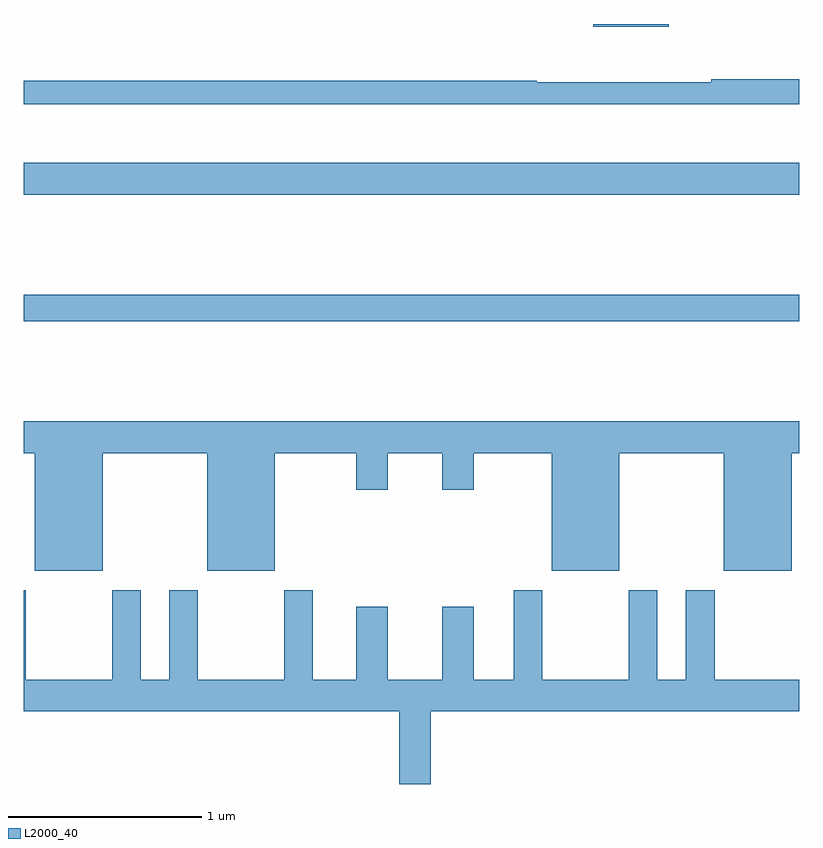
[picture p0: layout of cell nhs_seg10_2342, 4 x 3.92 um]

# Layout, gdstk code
import gdstk
lib = gdstk.Library(unit=1e-6, precision=1e-09)
def R(c, l, rs):  # rectangles x0, y0, x1, y1
    for r in rs: c.add(gdstk.rectangle(r[:2], r[2:], *l))
def P(c, l, *ps):  # polygons
    for p in ps: c.add(gdstk.Polygon(p, *l))
L2000_40 = (2000, 40)

nhs_seg10_2342 = lib.new_cell('nhs_seg10_2342')
R(nhs_seg10_2342, L2000_40, [(235,1328.968,239,1329.104), (235,1329.62,239,1329.784), (237.938,1330.487,238.327,1330.5)])
P(nhs_seg10_2342, L2000_40, [(239,1330.214),(238.545,1330.214),(238.545,1330.199),(237.645,1330.199),(237.645,1330.207),(235,1330.207),(235,1330.086),(239,1330.086)],
  [(235.408,1328.288),(235.946,1328.288),(235.946,1327.682),(236.296,1327.682),(236.296,1328.288),(236.714,1328.288),(236.714,1328.1),(236.878,1328.1),(236.878,1328.288),(237.158,1328.288),(237.158,1328.1),(237.322,1328.1),(237.322,1328.288),(237.722,1328.288),(237.722,1327.682),(238.072,1327.682),(238.072,1328.288),(238.61,1328.288),(238.61,1327.682),(238.96,1327.682),(238.96,1328.288),(239,1328.288),(239,1328.452),(235,1328.452),(235,1328.288),(235.058,1328.288),(235.058,1327.682),(235.408,1327.682)],
  [(235,1327.582),(235,1326.956),(236.936,1326.956),(236.936,1326.582),(237.1,1326.582),(237.1,1326.956),(239,1326.956),(239,1327.12),(238.563,1327.12),(238.563,1327.582),(238.415,1327.582),(238.415,1327.12),(238.267,1327.12),(238.267,1327.582),(238.12,1327.582),(238.12,1327.12),(237.675,1327.12),(237.675,1327.582),(237.527,1327.582),(237.527,1327.12),(237.322,1327.12),(237.322,1327.495),(237.158,1327.495),(237.158,1327.12),(236.878,1327.12),(236.878,1327.495),(236.714,1327.495),(236.714,1327.12),(236.491,1327.12),(236.491,1327.582),(236.344,1327.582),(236.344,1327.12),(235.899,1327.12),(235.899,1327.582),(235.751,1327.582),(235.751,1327.12),(235.603,1327.12),(235.603,1327.582),(235.456,1327.582),(235.456,1327.12),(235.011,1327.12),(235.011,1327.582)])

lib.write_gds('nhs_seg10_2342.gds')
